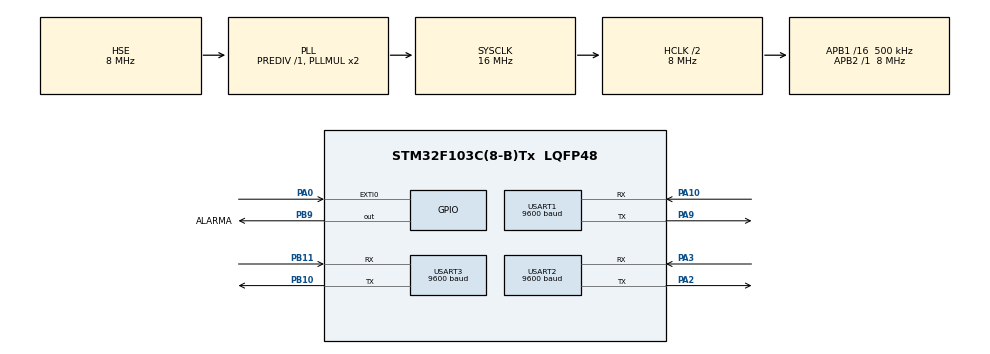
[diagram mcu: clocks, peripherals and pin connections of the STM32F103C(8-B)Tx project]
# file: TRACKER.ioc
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Mcu.Family=STM32F1
NVIC.USART3_IRQn=true\:0\:0\:false\:false\:true\:true\:true
RCC.PLLSourceVirtual=RCC_PLLSOURCE_HSE
PC15-OSC32_OUT.Mode=LSE-External-Oscillator
PD1-OSC_OUT.Mode=HSE-External-Oscillator
PB9.GPIO_Label=ALARMA
PA10.Mode=Asynchronous
PB10.Mode=Asynchronous
USART1.BaudRate=9600
PD0-OSC_IN.Signal=RCC_OSC_IN
RCC.APB1CLKDivider=RCC_HCLK_DIV16
PC14-OSC32_IN.Signal=RCC_OSC32_IN
PB11.Signal=USART3_RX
NVIC.USART2_IRQn=true\:0\:0\:false\:false\:true\:true\:true
USART2.BaudRate=9600
RCC.SYSCLKSource=RCC_SYSCLKSOURCE_PLLCLK
ProjectManager.StackSize=0x400
PA0-WKUP.Signal=GPXTI0
PD1-OSC_OUT.Signal=RCC_OSC_OUT
PA13.Signal=SYS_JTMS-SWDIO
PA3.Mode=Asynchronous
PA9.Mode=Asynchronous
USART3.BaudRate=9600
PB11.Mode=Asynchronous
ProjectManager.TargetToolchain=STM32CubeIDE
RCC.HCLKFreq_Value=8000000
RCC.APB2TimFreq_Value=8000000
PA9.Signal=USART1_TX
RCC.USBFreq_Value=16000000
PC15-OSC32_OUT.Signal=RCC_OSC32_OUT
RCC.AHBFreq_Value=8000000
PD0-OSC_IN.Mode=HSE-External-Oscillator
PB10.Signal=USART3_TX
board=custom
RCC.APB2Freq_Value=8000000
PC14-OSC32_IN.Mode=LSE-External-Oscillator
VP_TIM2_VS_ClockSourceINT.Mode=Internal
PA14.Mode=Serial_Wire
NVIC.TIM2_IRQn=true\:0\:0\:false\:false\:true\:true\:true
RCC.AHBCLKDivider=RCC_SYSCLK_DIV2
TIM2.Period=9999
PA13.Mode=Serial_Wire
Mcu.Name=STM32F103C(8-B)Tx
PA2.Signal=USART2_TX
NVIC.EXTI0_IRQn=true\:0\:0\:false\:false\:true\:true\:true
RCC.SYSCLKFreq_VALUE=16000000
Mcu.Package=LQFP48
PB9.Signal=GPIO_Output
TIM2.Prescaler=1000
USART2.VirtualMode=VM_ASYNC
USART3.VirtualMode=VM_ASYNC
USART1.VirtualMode=VM_ASYNC
PA10.Signal=USART1_RX
PA14.Signal=SYS_JTCK-SWCLK
ProjectManager.HeapSize=0x200
NVIC.PriorityGroup=NVIC_PRIORITYGROUP_4
RCC.APB1TimFreq_Value=1000000
PA2.Mode=Asynchronous
TIM2.AutoReloadPreload=TIM_AUTORELOAD_PRELOAD_ENABLE
NVIC.USART1_IRQn=true\:0\:0\:false\:false\:true\:true\:true
RCC.APB1Freq_Value=500000
PA3.Signal=USART2_RX

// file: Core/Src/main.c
/* USER CODE BEGIN Header */
/**
  ******************************************************************************
  * @file           : main.c
  * @brief          : Main program body
  ******************************************************************************
  * @attention
  *
  * <h2><center>&copy; Copyright (c) 2021 STMicroelectronics.
  * All rights reserved.</center></h2>
  *
  * This software component is licensed by ST under BSD 3-Clause license,
  * the "License"; You may not use this file except in compliance with the
  * License. You may obtain a copy of the License at:
  *                        opensource.org/licenses/BSD-3-Clause
  *
  ******************************************************************************
  */
/* USER CODE END Header */
#include "main.h"

/* USER CODE BEGIN Includes */
#include <stdint.h>
#include "string.h"
#include "stdio.h"
#include "stdlib.h"
/* USER CODE END Includes */

TIM_HandleTypeDef htim2;

UART_HandleTypeDef huart1;
UART_HandleTypeDef huart2;
UART_HandleTypeDef huart3;

/* USER CODE BEGIN PV */
//PV: PC
volatile uint8_t alarma =0;
#define SIZE_RX 15
char dato_Rx[SIZE_RX];
volatile uint8_t indice =0;
char errortime[100]="El numero ingresado no es correcto, por favor ingrese 500(120s)/1000(60s)/2000(30s) \r\n";
char helpg[100]="Nos devuelve la ubicacicion actual del gps\r\n";
char helpt[100]="Cambia el tiempo de interrupcion del timer segun 500(5s)/1000(10s)/2000(20s)\r\n ";
char helpa[100]="Activa/desactiva la alarma segun ON/OFF\r\n";
char aon[]="Alarma activada\r\n";
char aoff[]="Alarma apagada\r\n";
char start[]="Iniciando GPS TRACKER...\r\n";
char helpini[]="ingrese :helpt/:helpgubicacion/:helpaon/ :helpaoff para ver la ayuda de comandos\r\n";

//PV: GPS
uint8_t cadena[3];
uint8_t data[3];
#define MAX 100
char buffer[MAX];
char disableRMC[29] = "$PUBX,40,RMC,0,0,0,0,0,0\r\n";
char disableGLL[29] = "$PUBX,40,GLL,0,0,0,0,0,0\r\n";
char disableGSV[29] = "$PUBX,40,GSV,0,0,0,0,0,0\r\n";
char disableGSA[29] = "$PUBX,40,GSA,0,0,0,0,0,0\r\n";
char disableGGA[29] = "$PUBX,40,GGA,0,0,0,0,0,0\r\n";
char disableVTG[29] = "$PUBX,40,VTG,0,0,0,0,0,0\r\n";
char disableZDA[29] = "$PUBX,40,ZDA,0,0,0,0,0,0\r\n";
char poll[17] = "$PUBX,00*33\r\n";
char hora[] = "\r\n La hora en formato UTC es: ";
char buff[114];
uint8_t cnt=0;
char tiempo[20];
char latitud[20];
char longitud[20];
char lat[10];
char lon[10];
// The Equator has a latitude of 0°,
//the North Pole has a latitude of 90° North (written 90° N or +90°),
//and the South Pole has a latitude of 90° South (written 90° S or −90°)
char *latRaw;
char latDg[2];
char latMS[7];
char *hemNS;
// longitude in degrees (0° at the Prime Meridian to +180° eastward and −180° westward)
// that is why 3
char *lonRaw;
char lonDg[3];
char lonMS[7];
char *hemEW;
char *utcRaw; // raw UTC time from the NMEA sentence in the hhmmss format
char strUTC[8];
char hH[2]; // hours
char mM[2]; // minutes
char sS[2]; // seconds

//PV:SIM800L
char AT[]="AT";
char ECO[]="ATE0\r\n";
char ModoM[]="AT+CMGF=1\r\n";
char MSN[]="HOLA MUNDO\r\n";
char Number[]="AT+CMGS=\"+542615513690\"\r\n";
char enter[]="\0x1A\r\n";
uint8_t ctrlZin = 0x1A;
uint8_t da[]="";
char mensaje[MAX];

/* USER CODE END PV */

void SystemClock_Config(void);
static void MX_GPIO_Init(void);
static void MX_USART1_UART_Init(void);
static void MX_USART2_UART_Init(void);
static void MX_USART3_UART_Init(void);
static void MX_TIM2_Init(void);

int main(void)
{

  /* MCU Configuration--------------------------------------------------------*/

  /* Reset of all peripherals, Initializes the Flash interface and the Systick. */
  HAL_Init();

  /* Configure the system clock */
  SystemClock_Config();

  /* Initialize all configured peripherals */
  MX_GPIO_Init();
  MX_USART1_UART_Init();
  MX_USART2_UART_Init();
  MX_USART3_UART_Init();
  MX_TIM2_Init();

  /* Infinite loop */
  /* USER CODE BEGIN WHILE */
  HAL_Delay(1000);
  HAL_UART_Receive_IT(&huart1, cadena, 1);										//mensaje de inicio
  HAL_UART_Transmit(&huart1, (uint8_t *)start, strlen(start), 100);
  HAL_Delay(1000);
  HAL_UART_Transmit(&huart1, (uint8_t *)helpini, strlen(helpini), 100);

  HAL_UART_Transmit(&huart3, (uint8_t *)disableRMC, strlen(disableRMC), 100);	//para desabilitar tramas del GPS
  HAL_UART_Transmit(&huart3, (uint8_t *)disableGSV, strlen(disableGSV), 100);
  HAL_UART_Transmit(&huart3, (uint8_t *)disableGSA, strlen(disableGSA), 100);
  HAL_UART_Transmit(&huart3, (uint8_t *)disableGGA, strlen(disableGGA), 100);
  HAL_UART_Transmit(&huart3, (uint8_t *)disableZDA, strlen(disableZDA), 100);
  HAL_UART_Transmit(&huart3, (uint8_t *)disableVTG, strlen(disableVTG), 100);
  HAL_UART_Transmit(&huart3, (uint8_t *)disableGLL, strlen(disableGLL), 100);
  HAL_UART_Transmit(&huart1, (uint8_t *)disableRMC, strlen(disableRMC), 100);
  HAL_UART_Transmit(&huart1, (uint8_t *)disableGSV, strlen(disableGSV), 100);
  HAL_UART_Transmit(&huart1, (uint8_t *)disableGSA, strlen(disableGSA), 100);
  HAL_UART_Transmit(&huart1, (uint8_t *)disableGGA, strlen(disableGGA), 100);
  HAL_UART_Transmit(&huart1, (uint8_t *)disableZDA, strlen(disableZDA), 100);
  HAL_UART_Transmit(&huart1, (uint8_t *)disableVTG, strlen(disableVTG), 100);
  HAL_UART_Transmit(&huart1, (uint8_t *)disableGLL, strlen(disableGLL), 100);

  while (1)
  {
    /* USER CODE END WHILE */

  }
}

void SystemClock_Config(void)
{
  RCC_OscInitTypeDef RCC_OscInitStruct = {0};
  RCC_ClkInitTypeDef RCC_ClkInitStruct = {0};

  /** Initializes the RCC Oscillators according to the specified parameters
  * in the RCC_OscInitTypeDef structure.
  */
  RCC_OscInitStruct.OscillatorType = RCC_OSCILLATORTYPE_HSE;
  RCC_OscInitStruct.HSEState = RCC_HSE_ON;
  RCC_OscInitStruct.HSEPredivValue = RCC_HSE_PREDIV_DIV1;
  RCC_OscInitStruct.HSIState = RCC_HSI_ON;
  RCC_OscInitStruct.PLL.PLLState = RCC_PLL_ON;
  RCC_OscInitStruct.PLL.PLLSource = RCC_PLLSOURCE_HSE;
  RCC_OscInitStruct.PLL.PLLMUL = RCC_PLL_MUL2;
  if (HAL_RCC_OscConfig(&RCC_OscInitStruct) != HAL_OK)
  {
    Error_Handler();
  }
  /** Initializes the CPU, AHB and APB buses clocks
  */
  RCC_ClkInitStruct.ClockType = RCC_CLOCKTYPE_HCLK|RCC_CLOCKTYPE_SYSCLK
                              |RCC_CLOCKTYPE_PCLK1|RCC_CLOCKTYPE_PCLK2;
  RCC_ClkInitStruct.SYSCLKSource = RCC_SYSCLKSOURCE_PLLCLK;
  RCC_ClkInitStruct.AHBCLKDivider = RCC_SYSCLK_DIV2;
  RCC_ClkInitStruct.APB1CLKDivider = RCC_HCLK_DIV16;
  RCC_ClkInitStruct.APB2CLKDivider = RCC_HCLK_DIV1;

  if (HAL_RCC_ClockConfig(&RCC_ClkInitStruct, FLASH_LATENCY_0) != HAL_OK)
  {
    Error_Handler();
  }
}

static void MX_TIM2_Init(void)
{

  TIM_ClockConfigTypeDef sClockSourceConfig = {0};
  TIM_MasterConfigTypeDef sMasterConfig = {0};

  htim2.Instance = TIM2;
  htim2.Init.Prescaler = 1000;
  htim2.Init.CounterMode = TIM_COUNTERMODE_UP;
  htim2.Init.Period = 9999;
  htim2.Init.ClockDivision = TIM_CLOCKDIVISION_DIV1;
  htim2.Init.AutoReloadPreload = TIM_AUTORELOAD_PRELOAD_ENABLE;
  if (HAL_TIM_Base_Init(&htim2) != HAL_OK)
  {
    Error_Handler();
  }
  sClockSourceConfig.ClockSource = TIM_CLOCKSOURCE_INTERNAL;
  if (HAL_TIM_ConfigClockSource(&htim2, &sClockSourceConfig) != HAL_OK)
  {
    Error_Handler();
  }
  sMasterConfig.MasterOutputTrigger = TIM_TRGO_RESET;
  sMasterConfig.MasterSlaveMode = TIM_MASTERSLAVEMODE_DISABLE;
  if (HAL_TIMEx_MasterConfigSynchronization(&htim2, &sMasterConfig) != HAL_OK)
  {
    Error_Handler();
  }

}

static void MX_USART1_UART_Init(void)
{

  huart1.Instance = USART1;
  huart1.Init.BaudRate = 9600;
  huart1.Init.WordLength = UART_WORDLENGTH_8B;
  huart1.Init.StopBits = UART_STOPBITS_1;
  huart1.Init.Parity = UART_PARITY_NONE;
  huart1.Init.Mode = UART_MODE_TX_RX;
  huart1.Init.HwFlowCtl = UART_HWCONTROL_NONE;
  huart1.Init.OverSampling = UART_OVERSAMPLING_16;
  if (HAL_UART_Init(&huart1) != HAL_OK)
  {
    Error_Handler();
  }

}

static void MX_USART2_UART_Init(void)
{

  huart2.Instance = USART2;
  huart2.Init.BaudRate = 9600;
  huart2.Init.WordLength = UART_WORDLENGTH_8B;
  huart2.Init.StopBits = UART_STOPBITS_1;
  huart2.Init.Parity = UART_PARITY_NONE;
  huart2.Init.Mode = UART_MODE_TX_RX;
  huart2.Init.HwFlowCtl = UART_HWCONTROL_NONE;
  huart2.Init.OverSampling = UART_OVERSAMPLING_16;
  if (HAL_UART_Init(&huart2) != HAL_OK)
  {
    Error_Handler();
  }

}

static void MX_USART3_UART_Init(void)
{

  huart3.Instance = USART3;
  huart3.Init.BaudRate = 9600;
  huart3.Init.WordLength = UART_WORDLENGTH_8B;
  huart3.Init.StopBits = UART_STOPBITS_1;
  huart3.Init.Parity = UART_PARITY_NONE;
  huart3.Init.Mode = UART_MODE_TX_RX;
  huart3.Init.HwFlowCtl = UART_HWCONTROL_NONE;
  huart3.Init.OverSampling = UART_OVERSAMPLING_16;
  if (HAL_UART_Init(&huart3) != HAL_OK)
  {
    Error_Handler();
  }

}

static void MX_GPIO_Init(void)
{
  GPIO_InitTypeDef GPIO_InitStruct = {0};

  /* GPIO Ports Clock Enable */
  __HAL_RCC_GPIOC_CLK_ENABLE();
  __HAL_RCC_GPIOD_CLK_ENABLE();
  __HAL_RCC_GPIOA_CLK_ENABLE();
  __HAL_RCC_GPIOB_CLK_ENABLE();

  /*Configure GPIO pin Output Level */
  HAL_GPIO_WritePin(ALARMA_GPIO_Port, ALARMA_Pin, GPIO_PIN_RESET);

  /*Configure GPIO pin : PA0 */
  GPIO_InitStruct.Pin = GPIO_PIN_0;
  GPIO_InitStruct.Mode = GPIO_MODE_IT_RISING;
  GPIO_InitStruct.Pull = GPIO_NOPULL;
  HAL_GPIO_Init(GPIOA, &GPIO_InitStruct);

  /*Configure GPIO pin : ALARMA_Pin */
  GPIO_InitStruct.Pin = ALARMA_Pin;
  GPIO_InitStruct.Mode = GPIO_MODE_OUTPUT_PP;
  GPIO_InitStruct.Pull = GPIO_NOPULL;
  GPIO_InitStruct.Speed = GPIO_SPEED_FREQ_LOW;
  HAL_GPIO_Init(ALARMA_GPIO_Port, &GPIO_InitStruct);

  /* EXTI interrupt init*/
  HAL_NVIC_SetPriority(EXTI0_IRQn, 0, 0);
  HAL_NVIC_EnableIRQ(EXTI0_IRQn);

}

/* USER CODE BEGIN 4 */
void text_msn(mensaje){			//funcion para mandar los mensajes de texto.

	HAL_UART_Transmit(&huart1,(uint8_t *)AT,strlen(AT), HAL_MAX_DELAY);//Probamos el modulo
	HAL_UART_Transmit(&huart2,(uint8_t *)AT,strlen(AT), HAL_MAX_DELAY);

	  HAL_UART_Transmit(&huart1, (uint8_t *)ModoM,strlen(ModoM), HAL_MAX_DELAY);//Ponemos el modulo en modo mensaje
	  HAL_UART_Transmit(&huart2, (uint8_t *)ModoM,strlen(ModoM), HAL_MAX_DELAY);

	  HAL_UART_Transmit(&huart1, (uint8_t *)Number,strlen(Number), HAL_MAX_DELAY);//numero al que le mandamos mensaje
	  HAL_UART_Transmit(&huart2, (uint8_t *)Number,strlen(Number), HAL_MAX_DELAY);

	  HAL_UART_Transmit(&huart1, (uint8_t *)mensaje,strlen(mensaje), HAL_MAX_DELAY);//mensaje que mandamos
	  HAL_UART_Transmit(&huart2, (uint8_t *)mensaje,strlen(mensaje), HAL_MAX_DELAY);

	  HAL_UART_Transmit(&huart2, &ctrlZin, 1, 100);
	}

void interpreta_gps(void){

	HAL_UART_Transmit(&huart3, (uint8_t *) poll, strlen(poll), 100);			// enviamos comando $PUBX,00*33
	HAL_UART_Transmit(&huart1, (uint8_t *) poll, strlen(poll), 100);
	HAL_UART_Receive(&huart3, (uint8_t *)buff, 60,100);							// recibimos respuesta de hora y posicion
	HAL_UART_Transmit(&huart1, (uint8_t *) buff, strlen(buff), 100);
	cnt = 0;
	for (char *pV = strtok(buff, ","); pV != NULL; pV = strtok(NULL, ",")) {	// con un token separamos el string segun las comas
		switch (cnt) {															// y extraemos los datos correspondientes de hora y posicion
		case 2:																	// strtok(buff,",") separa el buff en punteros segun las comas
			utcRaw = strdup(pV);
			break;
		case 3:
			latRaw = strdup(pV);
			break;
		case 4:
			hemNS = strdup(pV);
			break;
		case 5:
			lonRaw = strdup(pV);
			break;
		case 6:
			hemEW = strdup(pV);
			break;
		}
		cnt++;
	}
	// adaptamos los valores extraidos segun si son grados, minutos, etc
	memcpy(latDg, &latRaw[0], 2);
	latDg[2] = '\0';
	memcpy(latMS, &latRaw[2], 7);
	latMS[7] = '\0';

	strcpy(latitud, latDg);
	strcat(latitud, " ");
	strcat(latitud, latMS);
	strcat(latitud, "\r\n");
	latitud[14] = '\0';

	strcpy(lat, &hemNS[0]);
	strcat(lat, ": ");
	lat[3]='\0';

	memcpy(lonDg, &lonRaw[0], 3);
	lonDg[3] = '\0';
	memcpy(lonMS, &lonRaw[3], 7);
	lonMS[7] = '\0';

	strcpy(longitud, lonDg);
	strcat(longitud, " ");
	strcat(longitud, lonMS);
	strcat(longitud, "\r\n");
	longitud[15] = '\0';

	strcpy(lon, &hemEW[0]);
	strcat(lon, ": ");
	lon[3]='\0';

	//covertimos UTC time en formato hh:mm:ss
	memcpy(hH, &utcRaw[0], 2);
	hH[2] = '\0';

	memcpy(mM, &utcRaw[2], 2);
	mM[2] = '\0';
	memcpy(sS, &utcRaw[4], 2);
	sS[2] = '\0';

	strcpy(tiempo, hH);
	strcat(tiempo, ":");
	strcat(tiempo, mM);
	strcat(tiempo, ":");
	strcat(tiempo, sS);
	strcat(tiempo, "\r\n");
	tiempo[12] = '\0';

	// adherimos todos los datos a un unico mensaje y lo mandamos a la funcion correspondiente
	memccpy(memccpy(memccpy(memccpy(memccpy(memccpy(buffer, hora, '\0', MAX) - 1, tiempo, '\0', MAX)- 1, lat, '\0', MAX)- 1, latitud, '\0', MAX)- 1, lon, '\0', MAX)- 1, longitud, '\0', MAX);

	text_msn(buffer);
}
void interpreta(void)
	  {
	uint16_t nuevot;
	nuevot=0;
	  	switch(dato_Rx[0])
	  		{
	  		case 'g':
	  		case 'G':  // devulve la ubicacion actual del GPS unasola vez
	  			if(strstr(dato_Rx, "ubicacion") || strstr(dato_Rx, "UBICACION") ){
	  				interpreta_gps();
	  			}
	  			memset(dato_Rx, 0, SIZE_RX);
	  			break;
	  		case 't':
	  		case 'T': // seteo del timer segun los valores predeterminados
	  			nuevot=atoi(&dato_Rx[1]);
	  			if(nuevot == 500 || nuevot == 2000 || nuevot == 1000){
		  			 __HAL_TIM_SET_PRESCALER(&htim2,nuevot);

	  			} else {
	  				HAL_UART_Transmit(&huart1, (uint8_t *)errortime, strlen(errortime), HAL_MAX_DELAY);
	  			}
	  			memset(dato_Rx, 0, SIZE_RX);
	  			  break;
	  		case 'a':
			case 'A': //on/off de la alarma (inicia y para el timer respectivamente)
				if(strstr(dato_Rx, "ON") || strstr(dato_Rx, "on") ){
					HAL_TIM_Base_Start_IT(&htim2);
					text_msn(aon);
					HAL_UART_Transmit(&huart1, (uint8_t *)aon, strlen(aon), HAL_MAX_DELAY);
				  }
				if(strstr(dato_Rx, "OFF") || strstr(dato_Rx, "off") ){
					HAL_TIM_Base_Stop_IT(&htim2);
					HAL_UART_Transmit(&huart1, (uint8_t *)aoff, strlen(aoff), HAL_MAX_DELAY);
					text_msn(aoff);
				  }
				memset(dato_Rx, 0, SIZE_RX);
				  break;
	  		case 'h':
	  		case 'H':	//helps
	  			if(strstr(dato_Rx,"Gubicacion") || strstr(dato_Rx, "GUBICACION") || strstr(dato_Rx,"gubicacion") || strstr(dato_Rx, "gUBICACION")){
	  				HAL_UART_Transmit(&huart1, (uint8_t *)helpg, strlen(helpg), HAL_MAX_DELAY);
	  			}
	  			if(strstr(dato_Rx,"T") || strstr(dato_Rx, "t")){
	  				HAL_UART_Transmit(&huart1, (uint8_t *)helpt, strlen(helpt), HAL_MAX_DELAY);
	  			}
	  			if(strstr(dato_Rx,"AON") || strstr(dato_Rx, "aon") || strstr(dato_Rx,"AOFF") || strstr(dato_Rx, "aoff")){
	  				HAL_UART_Transmit(&huart1, (uint8_t *)helpa, strlen(helpa), HAL_MAX_DELAY);
	  			}
	  			memset(dato_Rx, 0, SIZE_RX);
	  		default:
	  			memset(dato_Rx, 0, SIZE_RX);
	  			break;
	  		}
	  }
void HAL_UART_RxCpltCallback(UART_HandleTypeDef *huart) //interupciones por uart
{
	if(huart->Instance == USART2){ //interrupciones de uart 2, es lo que manda el GPRS
			HAL_UART_Transmit(&huart1, da, 1, HAL_MAX_DELAY);
			HAL_UART_Receive_IT(&huart2, da, 1);
		}

	if(huart->Instance == USART1) //interrupciones de uart 1
	{
		uint8_t dato = cadena[0];
		if(indice>= SIZE_RX) indice = 0;
		switch(dato)
			{
			case ':': indice=0; //iniciador de trama
					break;
			case '\r':
			case ';':		// el case \r hace lo mismo que el case ; fin de linea
					dato_Rx[indice]=0;
					interpreta();
					break;
			case 8: 	// 'borrar' en codigo ansi
					if (indice) indice--;
					break;
			default:
					dato_Rx[indice++] = dato;
					break;

			}
		HAL_UART_Receive_IT(&huart1, cadena, 1);
	}
}

void HAL_TIM_PeriodElapsedCallback(TIM_HandleTypeDef *htim){
		// pedido y procesamiento de los datos del gps cada vez que se cumple el tiempo
		interpreta_gps();
}

/* USER CODE END 4 */

void Error_Handler(void)
{
  __disable_irq();
  while (1)
  {
  }
}

/************************ (C) COPYRIGHT STMicroelectronics *****END OF FILE****/
